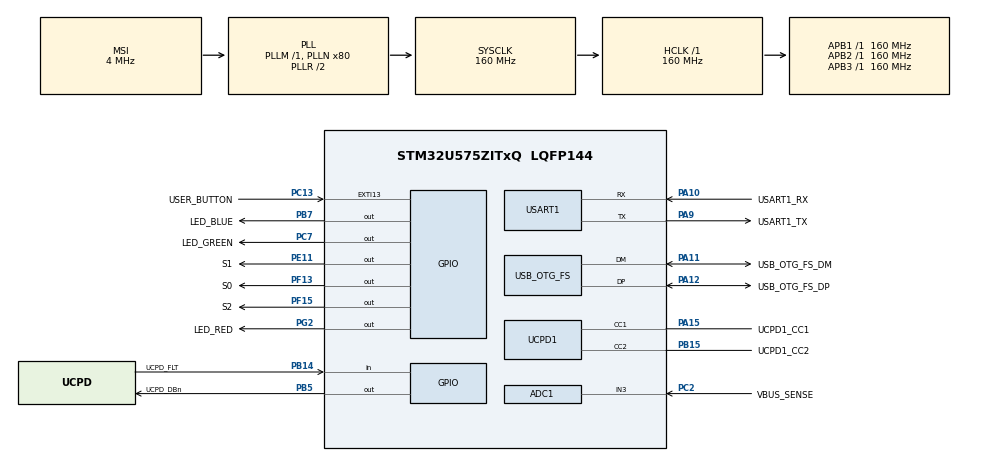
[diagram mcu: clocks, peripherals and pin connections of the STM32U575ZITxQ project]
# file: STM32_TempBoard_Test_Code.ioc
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ADC1.NbrOfConversion=1
ADC1.Resolution=ADC_RESOLUTION_14B
ADC1.master=1
CORTEX_M33_NS.userName=CORTEX_M33
Mcu.Family=STM32U5
Mcu.Name=STM32U575ZITxQ
Mcu.Package=LQFP144
NVIC.OTG_FS_IRQn=true\:0\:0\:false\:false\:true\:true\:true\:true
NVIC.PriorityGroup=NVIC_PRIORITYGROUP_3
NVIC.USART1_IRQn=true\:0\:0\:false\:false\:true\:true\:true\:true
PA10.GPIO_Label=USART1_RX
PA10.GPIO_PuPd=GPIO_PULLDOWN
PA10.GPIO_Speed=GPIO_SPEED_FREQ_VERY_HIGH
PA10.Mode=Asynchronous
PA10.Signal=USART1_RX
PA11.GPIO_Label=USB_OTG_FS_DM
PA11.GPIO_Speed=GPIO_SPEED_FREQ_VERY_HIGH
PA11.Mode=Device_Only
PA11.Signal=USB_OTG_FS_DM
PA12.GPIO_Label=USB_OTG_FS_DP
PA12.GPIO_Speed=GPIO_SPEED_FREQ_VERY_HIGH
PA12.Mode=Device_Only
PA12.Signal=USB_OTG_FS_DP
PA13\ (JTMS/SWDIO).Mode=Trace_Asynchronous_SW
PA13\ (JTMS/SWDIO).Signal=DEBUG_JTMS-SWDIO
PA14\ (JTCK/SWCLK).Mode=Trace_Asynchronous_SW
PA14\ (JTCK/SWCLK).Signal=DEBUG_JTCK-SWCLK
PA15\ (JTDI).GPIO_Label=UCPD1_CC1
PA15\ (JTDI).Mode=Sink_AllSignals
PA15\ (JTDI).Signal=UCPD1_CC1
PA9.GPIO_Label=USART1_TX
PA9.GPIO_PuPd=GPIO_PULLDOWN
PA9.GPIO_Speed=GPIO_SPEED_FREQ_VERY_HIGH
PA9.Mode=Asynchronous
PA9.Signal=USART1_TX
PB14.GPIO_Label=UCPD_FLT
PB14.Signal=GPIO_Input
PB15.GPIO_Label=UCPD1_CC2
PB15.Mode=Sink_AllSignals
PB15.Signal=UCPD1_CC2
PB3\ (JTDO/TRACESWO).Mode=Trace_Asynchronous_SW
PB3\ (JTDO/TRACESWO).Signal=DEBUG_JTDO-SWO
PB5.GPIO_Label=UCPD_DBn
PB5.Signal=GPIO_Output
PB7.GPIO_Label=LED_BLUE
PB7.GPIO_ModeDefaultOutputPP=GPIO_MODE_OUTPUT_PP
PB7.GPIO_PuPd=GPIO_PULLUP
PB7.GPIO_Speed=GPIO_SPEED_FREQ_HIGH
PB7.Signal=GPIO_Output
PC13.GPIO_Label=USER_BUTTON
PC13.GPIO_ModeDefaultEXTI=GPIO_MODE_IT_FALLING
PC13.Signal=GPXTI13
PC14-OSC32_IN\ (PC14).Mode=LSE-External-Oscillator
PC14-OSC32_IN\ (PC14).Signal=RCC_OSC32_IN
PC15-OSC32_OUT\ (PC15).Mode=LSE-External-Oscillator
PC15-OSC32_OUT\ (PC15).Signal=RCC_OSC32_OUT
PC2.GPIO_Label=VBUS_SENSE
PC2.Mode=IN3-Single-Ended
PC2.Signal=ADC1_IN3
PC7.GPIO_Label=LED_GREEN
PC7.GPIO_PuPd=GPIO_PULLUP
PC7.GPIO_Speed=GPIO_SPEED_FREQ_HIGH
PC7.Signal=GPIO_Output
PE11.GPIO_Label=S1
PE11.GPIO_PuPd=GPIO_PULLDOWN
PE11.GPIO_Speed=GPIO_SPEED_FREQ_HIGH
PE11.PinState=GPIO_PIN_RESET
PE11.Signal=GPIO_Output
PF13.GPIO_Label=S0
PF13.GPIO_PuPd=GPIO_PULLDOWN
PF13.GPIO_Speed=GPIO_SPEED_FREQ_HIGH
PF13.PinState=GPIO_PIN_RESET
PF13.Signal=GPIO_Output
PF15.GPIO_Label=S2
PF15.GPIO_PuPd=GPIO_PULLDOWN
PF15.GPIO_Speed=GPIO_SPEED_FREQ_HIGH
PF15.PinState=GPIO_PIN_RESET
PF15.Signal=GPIO_Output
PG2.GPIO_Label=LED_RED
PG2.GPIO_ModeDefaultOutputPP=GPIO_MODE_OUTPUT_PP
PG2.GPIO_PuPd=GPIO_PULLUP
PG2.GPIO_Speed=GPIO_SPEED_FREQ_HIGH
PG2.Signal=GPIO_Output
PWR.PowerMode=PWR_SMPS_SUPPLY
ProjectManager.HeapSize=0x200
ProjectManager.StackSize=0x400
ProjectManager.TargetToolchain=STM32CubeIDE
RCC.ADCFreq_Value=16000000
RCC.AHBFreq_Value=160000000
RCC.APB1Freq_Value=160000000
RCC.APB1TimFreq_Value=160000000
RCC.APB2Freq_Value=160000000
RCC.APB2TimFreq_Value=160000000
RCC.APB3Freq_Value=160000000
RCC.CortexFreq_Value=160000000
RCC.DACCLockSelectionVirtual=RCC_DAC1CLKSOURCE_LSI
RCC.EPOD_VALUE=4000000
RCC.HCLKFreq_Value=160000000
RCC.HSE_VALUE=16000000
RCC.HSI48_VALUE=48000000
RCC.HSI_VALUE=16000000
RCC.LSIDIV_VALUE=32000
RCC.MSI_VALUE=4000000
RCC.PLLN=80
RCC.SYSCLKFreq_VALUE=160000000
RCC.SYSCLKSource=RCC_SYSCLKSOURCE_PLLCLK
RCC.USBFreq_Value=48000000
RCC.VCOOutputFreq_Value=320000000
USART1.VirtualMode-Asynchronous=VM_ASYNC
USB_OTG_FS.VirtualMode=Device_Only
VP_ICACHE_VS_ICACHE.Mode=DirectMappedCache
VP_LPBAMQUEUE_VS_QUEUE.Mode=QUEUEMODE
VP_LPBAM_VS_SIG1.Mode=SmartRun
VP_LPBAM_VS_SIG4.Mode=LPDMA1
VP_PWR_VS_DBSignals.Mode=DisableDeadBatterySignals
VP_PWR_VS_LPOM.Mode=PowerOptimisation
VP_PWR_VS_SECSignals.Mode=Security/Privilege
board=NUCLEO-U575ZI-Q

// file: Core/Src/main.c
/* USER CODE BEGIN Header */
/**
 ******************************************************************************
 * @file           : main.c
 * @brief          : Main program body
 ******************************************************************************
 * @attention
 *
 * Copyright (c) 2023 STMicroelectronics.
 * All rights reserved.
 *
 * This software is licensed under terms that can be found in the LICENSE file
 * in the root directory of this software component.
 * If no LICENSE file comes with this software, it is provided AS-IS.
 *
 ******************************************************************************
 */
/* USER CODE END Header */
#include "main.h"

/* USER CODE BEGIN Includes */
#include <stdio.h>
#include <retarget.h>
/* USER CODE END Includes */

ADC_HandleTypeDef hadc1;

UART_HandleTypeDef huart1;

PCD_HandleTypeDef hpcd_USB_OTG_FS;

/* USER CODE BEGIN PV */
static int number_of_channels;
static uint8_t UART_rxBuffer[12] = {0};
int channelSelected = 1;
/* USER CODE END PV */

void SystemClock_Config(void);
static void SystemPower_Config(void);
static void MX_GPIO_Init(void);
static void MX_ADC1_Init(void);
static void MX_UCPD1_Init(void);
static void MX_USART1_UART_Init(void);
static void MX_USB_OTG_FS_PCD_Init(void);
static void MX_ICACHE_Init(void);

int main(void)
{

  /* MCU Configuration--------------------------------------------------------*/

  /* Reset of all peripherals, Initializes the Flash interface and the Systick. */
  HAL_Init();

  /* Configure the system clock */
  SystemClock_Config();

  /* Configure the System Power */
  SystemPower_Config();

  /* Initialize all configured peripherals */
  MX_GPIO_Init();
  MX_ADC1_Init();
  MX_UCPD1_Init();
  MX_USART1_UART_Init();
  MX_USB_OTG_FS_PCD_Init();
  MX_ICACHE_Init();
  /* USER CODE BEGIN 2 */
  RetargetInit(&huart1);
  HAL_UART_Receive_IT(&huart1, UART_rxBuffer, 3);
  number_of_channels = 5;
  /* USER CODE END 2 */

  /* Infinite loop */
  while (1)
  {

  }
}

void SystemClock_Config(void)
{
  RCC_OscInitTypeDef RCC_OscInitStruct = {0};
  RCC_ClkInitTypeDef RCC_ClkInitStruct = {0};

  /** Configure the main internal regulator output voltage
   */
  if (HAL_PWREx_ControlVoltageScaling(PWR_REGULATOR_VOLTAGE_SCALE1) != HAL_OK)
  {
    Error_Handler();
  }

  /** Initializes the CPU, AHB and APB buses clocks
   */
  RCC_OscInitStruct.OscillatorType = RCC_OSCILLATORTYPE_HSI48 | RCC_OSCILLATORTYPE_HSI | RCC_OSCILLATORTYPE_MSI;
  RCC_OscInitStruct.HSIState = RCC_HSI_ON;
  RCC_OscInitStruct.HSI48State = RCC_HSI48_ON;
  RCC_OscInitStruct.HSICalibrationValue = RCC_HSICALIBRATION_DEFAULT;
  RCC_OscInitStruct.MSIState = RCC_MSI_ON;
  RCC_OscInitStruct.MSICalibrationValue = RCC_MSICALIBRATION_DEFAULT;
  RCC_OscInitStruct.MSIClockRange = RCC_MSIRANGE_4;
  RCC_OscInitStruct.PLL.PLLState = RCC_PLL_ON;
  RCC_OscInitStruct.PLL.PLLSource = RCC_PLLSOURCE_MSI;
  RCC_OscInitStruct.PLL.PLLMBOOST = RCC_PLLMBOOST_DIV1;
  RCC_OscInitStruct.PLL.PLLM = 1;
  RCC_OscInitStruct.PLL.PLLN = 80;
  RCC_OscInitStruct.PLL.PLLP = 2;
  RCC_OscInitStruct.PLL.PLLQ = 2;
  RCC_OscInitStruct.PLL.PLLR = 2;
  RCC_OscInitStruct.PLL.PLLRGE = RCC_PLLVCIRANGE_0;
  RCC_OscInitStruct.PLL.PLLFRACN = 0;
  if (HAL_RCC_OscConfig(&RCC_OscInitStruct) != HAL_OK)
  {
    Error_Handler();
  }

  /** Initializes the CPU, AHB and APB buses clocks
   */
  RCC_ClkInitStruct.ClockType = RCC_CLOCKTYPE_HCLK | RCC_CLOCKTYPE_SYSCLK | RCC_CLOCKTYPE_PCLK1 | RCC_CLOCKTYPE_PCLK2 | RCC_CLOCKTYPE_PCLK3;
  RCC_ClkInitStruct.SYSCLKSource = RCC_SYSCLKSOURCE_PLLCLK;
  RCC_ClkInitStruct.AHBCLKDivider = RCC_SYSCLK_DIV1;
  RCC_ClkInitStruct.APB1CLKDivider = RCC_HCLK_DIV1;
  RCC_ClkInitStruct.APB2CLKDivider = RCC_HCLK_DIV1;
  RCC_ClkInitStruct.APB3CLKDivider = RCC_HCLK_DIV1;

  if (HAL_RCC_ClockConfig(&RCC_ClkInitStruct, FLASH_LATENCY_4) != HAL_OK)
  {
    Error_Handler();
  }
}

/**
 * @brief Power Configuration
 * @retval None
 */
static void SystemPower_Config(void)
{
  HAL_PWREx_EnableVddIO2();

  /*
   * Switch to SMPS regulator instead of LDO
   */
  if (HAL_PWREx_ConfigSupply(PWR_SMPS_SUPPLY) != HAL_OK)
  {
    Error_Handler();
  }
}

static void MX_ADC1_Init(void)
{

  /** Common config
   */
  hadc1.Instance = ADC1;
  hadc1.Init.ClockPrescaler = ADC_CLOCK_ASYNC_DIV1;
  hadc1.Init.Resolution = ADC_RESOLUTION_14B;
  hadc1.Init.GainCompensation = 0;
  hadc1.Init.ScanConvMode = ADC_SCAN_DISABLE;
  hadc1.Init.EOCSelection = ADC_EOC_SINGLE_CONV;
  hadc1.Init.LowPowerAutoWait = DISABLE;
  hadc1.Init.ContinuousConvMode = DISABLE;
  hadc1.Init.NbrOfConversion = 1;
  hadc1.Init.DiscontinuousConvMode = DISABLE;
  hadc1.Init.DMAContinuousRequests = DISABLE;
  hadc1.Init.TriggerFrequencyMode = ADC_TRIGGER_FREQ_HIGH;
  hadc1.Init.Overrun = ADC_OVR_DATA_PRESERVED;
  hadc1.Init.LeftBitShift = ADC_LEFTBITSHIFT_NONE;
  hadc1.Init.ConversionDataManagement = ADC_CONVERSIONDATA_DR;
  hadc1.Init.OversamplingMode = DISABLE;
  if (HAL_ADC_Init(&hadc1) != HAL_OK)
  {
    Error_Handler();
  }
}

static void MX_ICACHE_Init(void)
{

  /** Enable instruction cache in 1-way (direct mapped cache)
   */
  if (HAL_ICACHE_ConfigAssociativityMode(ICACHE_1WAY) != HAL_OK)
  {
    Error_Handler();
  }
  if (HAL_ICACHE_Enable() != HAL_OK)
  {
    Error_Handler();
  }
}

static void MX_UCPD1_Init(void)
{

  LL_GPIO_InitTypeDef GPIO_InitStruct = {0};

  /* Peripheral clock enable */
  LL_APB1_GRP2_EnableClock(LL_APB1_GRP2_PERIPH_UCPD1);

  LL_AHB2_GRP1_EnableClock(LL_AHB2_GRP1_PERIPH_GPIOB);
  LL_AHB2_GRP1_EnableClock(LL_AHB2_GRP1_PERIPH_GPIOA);
  /**UCPD1 GPIO Configuration
  PB15   ------> UCPD1_CC2
  PA15 (JTDI)   ------> UCPD1_CC1
  */
  GPIO_InitStruct.Pin = LL_GPIO_PIN_15;
  GPIO_InitStruct.Mode = LL_GPIO_MODE_ANALOG;
  GPIO_InitStruct.Pull = LL_GPIO_PULL_NO;
  LL_GPIO_Init(GPIOB, &GPIO_InitStruct);

  GPIO_InitStruct.Pin = LL_GPIO_PIN_15;
  GPIO_InitStruct.Mode = LL_GPIO_MODE_ANALOG;
  GPIO_InitStruct.Pull = LL_GPIO_PULL_NO;
  LL_GPIO_Init(GPIOA, &GPIO_InitStruct);

}

static void MX_USART1_UART_Init(void)
{

  huart1.Instance = USART1;
  huart1.Init.BaudRate = 115200;
  huart1.Init.WordLength = UART_WORDLENGTH_8B;
  huart1.Init.StopBits = UART_STOPBITS_1;
  huart1.Init.Parity = UART_PARITY_NONE;
  huart1.Init.Mode = UART_MODE_TX_RX;
  huart1.Init.HwFlowCtl = UART_HWCONTROL_NONE;
  huart1.Init.OverSampling = UART_OVERSAMPLING_16;
  huart1.Init.OneBitSampling = UART_ONE_BIT_SAMPLE_DISABLE;
  huart1.Init.ClockPrescaler = UART_PRESCALER_DIV1;
  huart1.AdvancedInit.AdvFeatureInit = UART_ADVFEATURE_NO_INIT;
  if (HAL_UART_Init(&huart1) != HAL_OK)
  {
    Error_Handler();
  }
  if (HAL_UARTEx_SetTxFifoThreshold(&huart1, UART_TXFIFO_THRESHOLD_1_8) != HAL_OK)
  {
    Error_Handler();
  }
  if (HAL_UARTEx_SetRxFifoThreshold(&huart1, UART_RXFIFO_THRESHOLD_1_8) != HAL_OK)
  {
    Error_Handler();
  }
  if (HAL_UARTEx_DisableFifoMode(&huart1) != HAL_OK)
  {
    Error_Handler();
  }
}

static void MX_USB_OTG_FS_PCD_Init(void)
{

  hpcd_USB_OTG_FS.Instance = USB_OTG_FS;
  hpcd_USB_OTG_FS.Init.dev_endpoints = 6;
  hpcd_USB_OTG_FS.Init.phy_itface = PCD_PHY_EMBEDDED;
  hpcd_USB_OTG_FS.Init.Sof_enable = DISABLE;
  hpcd_USB_OTG_FS.Init.low_power_enable = DISABLE;
  hpcd_USB_OTG_FS.Init.lpm_enable = DISABLE;
  hpcd_USB_OTG_FS.Init.battery_charging_enable = DISABLE;
  hpcd_USB_OTG_FS.Init.use_dedicated_ep1 = DISABLE;
  hpcd_USB_OTG_FS.Init.vbus_sensing_enable = DISABLE;
  if (HAL_PCD_Init(&hpcd_USB_OTG_FS) != HAL_OK)
  {
    Error_Handler();
  }
}

static void MX_GPIO_Init(void)
{
  GPIO_InitTypeDef GPIO_InitStruct = {0};

  /* GPIO Ports Clock Enable */
  __HAL_RCC_GPIOC_CLK_ENABLE();
  __HAL_RCC_GPIOF_CLK_ENABLE();
  __HAL_RCC_GPIOE_CLK_ENABLE();
  __HAL_RCC_GPIOB_CLK_ENABLE();
  __HAL_RCC_GPIOG_CLK_ENABLE();
  __HAL_RCC_GPIOA_CLK_ENABLE();

  /*Configure GPIO pin Output Level */
  HAL_GPIO_WritePin(GPIOF, S0_Pin | S2_Pin, GPIO_PIN_RESET);

  /*Configure GPIO pin Output Level */
  HAL_GPIO_WritePin(S1_GPIO_Port, S1_Pin, GPIO_PIN_RESET);

  /*Configure GPIO pin Output Level */
  HAL_GPIO_WritePin(LED_RED_GPIO_Port, LED_RED_Pin, GPIO_PIN_RESET);

  /*Configure GPIO pin Output Level */
  HAL_GPIO_WritePin(LED_GREEN_GPIO_Port, LED_GREEN_Pin, GPIO_PIN_RESET);

  /*Configure GPIO pin Output Level */
  HAL_GPIO_WritePin(GPIOB, UCPD_DBn_Pin | LED_BLUE_Pin, GPIO_PIN_RESET);

  /*Configure GPIO pin : USER_BUTTON_Pin */
  GPIO_InitStruct.Pin = USER_BUTTON_Pin;
  GPIO_InitStruct.Mode = GPIO_MODE_IT_FALLING;
  GPIO_InitStruct.Pull = GPIO_NOPULL;
  HAL_GPIO_Init(USER_BUTTON_GPIO_Port, &GPIO_InitStruct);

  /*Configure GPIO pins : S0_Pin S2_Pin */
  GPIO_InitStruct.Pin = S0_Pin | S2_Pin;
  GPIO_InitStruct.Mode = GPIO_MODE_OUTPUT_PP;
  GPIO_InitStruct.Pull = GPIO_PULLDOWN;
  GPIO_InitStruct.Speed = GPIO_SPEED_FREQ_HIGH;
  HAL_GPIO_Init(GPIOF, &GPIO_InitStruct);

  /*Configure GPIO pin : S1_Pin */
  GPIO_InitStruct.Pin = S1_Pin;
  GPIO_InitStruct.Mode = GPIO_MODE_OUTPUT_PP;
  GPIO_InitStruct.Pull = GPIO_PULLDOWN;
  GPIO_InitStruct.Speed = GPIO_SPEED_FREQ_HIGH;
  HAL_GPIO_Init(S1_GPIO_Port, &GPIO_InitStruct);

  /*Configure GPIO pin : UCPD_FLT_Pin */
  GPIO_InitStruct.Pin = UCPD_FLT_Pin;
  GPIO_InitStruct.Mode = GPIO_MODE_INPUT;
  GPIO_InitStruct.Pull = GPIO_NOPULL;
  HAL_GPIO_Init(UCPD_FLT_GPIO_Port, &GPIO_InitStruct);

  /*Configure GPIO pin : LED_RED_Pin */
  GPIO_InitStruct.Pin = LED_RED_Pin;
  GPIO_InitStruct.Mode = GPIO_MODE_OUTPUT_PP;
  GPIO_InitStruct.Pull = GPIO_PULLUP;
  GPIO_InitStruct.Speed = GPIO_SPEED_FREQ_HIGH;
  HAL_GPIO_Init(LED_RED_GPIO_Port, &GPIO_InitStruct);

  /*Configure GPIO pin : LED_GREEN_Pin */
  GPIO_InitStruct.Pin = LED_GREEN_Pin;
  GPIO_InitStruct.Mode = GPIO_MODE_OUTPUT_PP;
  GPIO_InitStruct.Pull = GPIO_PULLUP;
  GPIO_InitStruct.Speed = GPIO_SPEED_FREQ_HIGH;
  HAL_GPIO_Init(LED_GREEN_GPIO_Port, &GPIO_InitStruct);

  /*Configure GPIO pin : UCPD_DBn_Pin */
  GPIO_InitStruct.Pin = UCPD_DBn_Pin;
  GPIO_InitStruct.Mode = GPIO_MODE_OUTPUT_PP;
  GPIO_InitStruct.Pull = GPIO_NOPULL;
  GPIO_InitStruct.Speed = GPIO_SPEED_FREQ_LOW;
  HAL_GPIO_Init(UCPD_DBn_GPIO_Port, &GPIO_InitStruct);

  /*Configure GPIO pin : LED_BLUE_Pin */
  GPIO_InitStruct.Pin = LED_BLUE_Pin;
  GPIO_InitStruct.Mode = GPIO_MODE_OUTPUT_PP;
  GPIO_InitStruct.Pull = GPIO_PULLUP;
  GPIO_InitStruct.Speed = GPIO_SPEED_FREQ_HIGH;
  HAL_GPIO_Init(LED_BLUE_GPIO_Port, &GPIO_InitStruct);

}

/* USER CODE BEGIN 4 */
static int setMux(int channel)
{
  if (channel > number_of_channels)
  {
    printf("channel %d out of bounds \n", channel);
    // selection out of bounds
    return 0;
  }
  printf("Channel %d selected\n", channel);
  channel -= 1; // convert from counting from 1 to counting from 0
  HAL_GPIO_WritePin(S0_GPIO_Port, S0_Pin, (channel & (1 << 0)) >> 0);
  HAL_GPIO_WritePin(S1_GPIO_Port, S1_Pin, (channel & (1 << 1)) >> 1);
  HAL_GPIO_WritePin(S2_GPIO_Port, S2_Pin, (channel & (1 << 2)) >> 2);

  return 1;
}
void HAL_UART_RxCpltCallback(UART_HandleTypeDef *huart)
{
  int inputChannel = UART_rxBuffer[0] - 48; // take the first character which is the number we care about, and covert it from UFT8 to decimal
  setMux(inputChannel);
  //  HAL_UART_Transmit(&huart1, UART_rxBuffer, 1, 100);
  HAL_UART_Receive_IT(&huart1, UART_rxBuffer, 3);
}
/* USER CODE END 4 */

void Error_Handler(void)
{
  __disable_irq();
  while (1)
  {
  }
}
